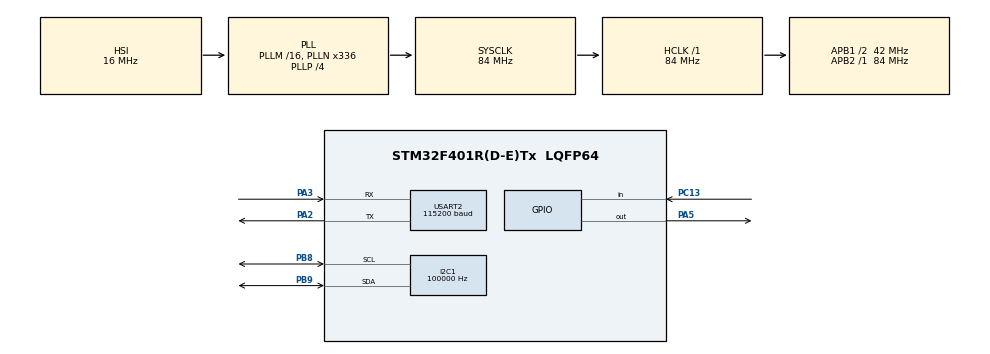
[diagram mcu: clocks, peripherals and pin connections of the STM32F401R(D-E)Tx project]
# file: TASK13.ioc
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Mcu.Family=STM32F4
Mcu.Name=STM32F401R(D-E)Tx
Mcu.Package=LQFP64
I2C1.ClockSpeed=100000
I2C1.DutyCycle=I2C_DUTYCYCLE_2
I2C1.AddressingMode=I2C_ADDRESSINGMODE_7BIT
PA2.Mode=Asynchronous
PA2.Signal=USART2_TX
PA3.Mode=Asynchronous
PA3.Signal=USART2_RX
PA5.Signal=GPIO_Output
PB8.Mode=I2C
PB8.Signal=I2C1_SCL
PB9.Mode=I2C
PB9.Signal=I2C1_SDA
PC13.Signal=GPIO_Input
PC13.GPIO_PuPd=GPIO_NOPULL
ProjectManager.TargetToolchain=MDK-ARM V5.32
RCC.AHBFreq_Value=84000000
RCC.APB1Freq_Value=42000000
RCC.APB2Freq_Value=84000000
RCC.CortexFreq_Value=84000000
RCC.HCLKFreq_Value=84000000
RCC.SYSCLKFreq_VALUE=84000000
RCC.SYSCLKSource=RCC_SYSCLKSOURCE_PLLCLK
USART2.BaudRate=115200
board=custom

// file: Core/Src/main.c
/* USER CODE BEGIN Header */
/**
  ******************************************************************************
  * @file           : main.c
  * @brief          : CAT 12 - TASK 12A: BME280 Sensor Bring-up & I2C Read
  * Target Device   : STM32F401RET6 (NUCLEO-F401RE, ARM Cortex-M4 @ 84 MHz)
  * Pin Map         : PB8 -> I2C1 SCL (BME280 Sensor SCL)
  *                   PB9 -> I2C1 SDA (BME280 Sensor SDA)
  *                   PA2 -> USART2 TX (PC ST-LINK @ 115200)
  *                   PA3 -> USART2 RX (PC ST-LINK @ 115200)
  *                   PA5 -> Onboard Green LED LD2
  ******************************************************************************
  */
/* USER CODE END Header */
#include "main.h"

/* USER CODE BEGIN Includes */
#include <stdio.h>
#include <string.h>
#include <stdbool.h>
#include "bme_lab.h"
/* USER CODE END Includes */

/* USER CODE BEGIN PD */
#define BME280_I2C_ADDR (0x76 << 1)
/* USER CODE END PD */

I2C_HandleTypeDef hi2c1;
UART_HandleTypeDef huart2;

/* USER CODE BEGIN PV */
uint8_t chip_id = 0;
uint32_t last_telemetry_tick = 0;
char log_msg[128];
char id_msg[64];
/* USER CODE END PV */

void SystemClock_Config(void);
static void MX_GPIO_Init(void);
static void MX_I2C1_Init(void);
static void MX_USART2_UART_Init(void);

int main(void)
{
  /* USER CODE BEGIN 1 */
  char *banner = "\r\n=== NUCLEO-F401RE BME280 I2C Sensor Bring-Up ===\r\n";
  uint32_t now = 0;
  char payload[160];
  int sensor_ok;
  /* USER CODE END 1 */

  /* MCU Configuration--------------------------------------------------------*/

  /* Reset of all peripherals, Initializes the Flash interface and the Systick. */
  HAL_Init();

  /* Configure the system clock */
  SystemClock_Config();

  /* Initialize all configured peripherals */
  MX_GPIO_Init();
  MX_I2C1_Init();
  MX_USART2_UART_Init();
  /* USER CODE BEGIN 2 */
  sensor_ok=bme_lab_start();
  HAL_UART_Transmit(&huart2, (uint8_t *)banner, strlen(banner), HAL_MAX_DELAY);

  /* Read BME280 Chip ID register 0xD0 over I2C1 */
  HAL_I2C_Mem_Read(&hi2c1, BME280_I2C_ADDR, 0xD0, I2C_MEMADD_SIZE_8BIT, &chip_id, 1, 100);
  snprintf(id_msg, sizeof(id_msg), "[I2C] BME280 Chip ID: 0x%02X (Expected: 0x60)\r\n", chip_id);
  HAL_UART_Transmit(&huart2, (uint8_t *)id_msg, strlen(id_msg), HAL_MAX_DELAY);
  /* USER CODE END 2 */

  /* Infinite loop */
  /* USER CODE BEGIN WHILE */
  while (1)
  {
    now = HAL_GetTick();
    if (now - last_telemetry_tick >= 2000)
    {
      last_telemetry_tick = now;
      if(!sensor_ok) sensor_ok=bme_lab_start();
      if(sensor_ok && bme_lab_json(payload,sizeof(payload))>0) {
        HAL_UART_Transmit(&huart2,(uint8_t*)payload,strlen(payload),1000);
        HAL_UART_Transmit(&huart2,(uint8_t*)"\r\n",2,100);
      } else {
        sensor_ok=0;
        HAL_UART_Transmit(&huart2,(uint8_t*)"BME280 read/init failed\r\n",24,100);
      }
      HAL_GPIO_TogglePin(GPIOA, GPIO_PIN_5);
    }
    /* USER CODE END WHILE */

  }
}

void SystemClock_Config(void)
{
  RCC_OscInitTypeDef RCC_OscInitStruct = {0};
  RCC_ClkInitTypeDef RCC_ClkInitStruct = {0};

  __HAL_RCC_PWR_CLK_ENABLE();
  __HAL_PWR_VOLTAGESCALING_CONFIG(PWR_REGULATOR_VOLTAGE_SCALE2);

  RCC_OscInitStruct.OscillatorType = RCC_OSCILLATORTYPE_HSI;
  RCC_OscInitStruct.HSIState = RCC_HSI_ON;
  RCC_OscInitStruct.HSICalibrationValue = RCC_HSICALIBRATION_DEFAULT;
  RCC_OscInitStruct.PLL.PLLState = RCC_PLL_ON;
  RCC_OscInitStruct.PLL.PLLSource = RCC_PLLSOURCE_HSI;
  RCC_OscInitStruct.PLL.PLLM = 16;
  RCC_OscInitStruct.PLL.PLLN = 336;
  RCC_OscInitStruct.PLL.PLLP = RCC_PLLP_DIV4;
  RCC_OscInitStruct.PLL.PLLQ = 7;
  if (HAL_RCC_OscConfig(&RCC_OscInitStruct) != HAL_OK)
  {
    Error_Handler();
  }

  RCC_ClkInitStruct.ClockType = RCC_CLOCKTYPE_HCLK|RCC_CLOCKTYPE_SYSCLK
                              |RCC_CLOCKTYPE_PCLK1|RCC_CLOCKTYPE_PCLK2;
  RCC_ClkInitStruct.SYSCLKSource = RCC_SYSCLKSOURCE_PLLCLK;
  RCC_ClkInitStruct.AHBCLKDivider = RCC_SYSCLK_DIV1;
  RCC_ClkInitStruct.APB1CLKDivider = RCC_HCLK_DIV2;
  RCC_ClkInitStruct.APB2CLKDivider = RCC_HCLK_DIV1;

  if (HAL_RCC_ClockConfig(&RCC_ClkInitStruct, FLASH_LATENCY_2) != HAL_OK)
  {
    Error_Handler();
  }
}

static void MX_I2C1_Init(void)
{
  hi2c1.Instance = I2C1;
  hi2c1.Init.ClockSpeed = 100000;
  hi2c1.Init.DutyCycle = I2C_DUTYCYCLE_2;
  hi2c1.Init.OwnAddress1 = 0;
  hi2c1.Init.AddressingMode = I2C_ADDRESSINGMODE_7BIT;
  hi2c1.Init.DualAddressMode = I2C_DUALADDRESS_DISABLE;
  hi2c1.Init.OwnAddress2 = 0;
  hi2c1.Init.GeneralCallMode = I2C_GENERALCALL_DISABLE;
  hi2c1.Init.NoStretchMode = I2C_NOSTRETCH_DISABLE;
  if (HAL_I2C_Init(&hi2c1) != HAL_OK)
  {
    Error_Handler();
  }
}

static void MX_USART2_UART_Init(void)
{
  huart2.Instance = USART2;
  huart2.Init.BaudRate = 115200;
  huart2.Init.WordLength = UART_WORDLENGTH_8B;
  huart2.Init.StopBits = UART_STOPBITS_1;
  huart2.Init.Parity = UART_PARITY_NONE;
  huart2.Init.Mode = UART_MODE_TX_RX;
  huart2.Init.HwFlowCtl = UART_HWCONTROL_NONE;
  huart2.Init.OverSampling = UART_OVERSAMPLING_16;
  if (HAL_UART_Init(&huart2) != HAL_OK)
  {
    Error_Handler();
  }
}

static void MX_GPIO_Init(void)
{
  GPIO_InitTypeDef GPIO_InitStruct = {0};

  /* GPIO Ports Clock Enable */
  __HAL_RCC_GPIOC_CLK_ENABLE();
  __HAL_RCC_GPIOH_CLK_ENABLE();
  __HAL_RCC_GPIOA_CLK_ENABLE();
  __HAL_RCC_GPIOB_CLK_ENABLE();

  /* Configure GPIO pin Output Level */
  HAL_GPIO_WritePin(GPIOA, GPIO_PIN_5, GPIO_PIN_RESET);

  /* Configure GPIO pin : PA5 (LD2 Green LED) */
  GPIO_InitStruct.Pin = GPIO_PIN_5;
  GPIO_InitStruct.Mode = GPIO_MODE_OUTPUT_PP;
  GPIO_InitStruct.Pull = GPIO_NOPULL;
  GPIO_InitStruct.Speed = GPIO_SPEED_FREQ_LOW;
  HAL_GPIO_Init(GPIOA, &GPIO_InitStruct);
}

void Error_Handler(void)
{
  __disable_irq();
  while (1)
  {
  }
}
